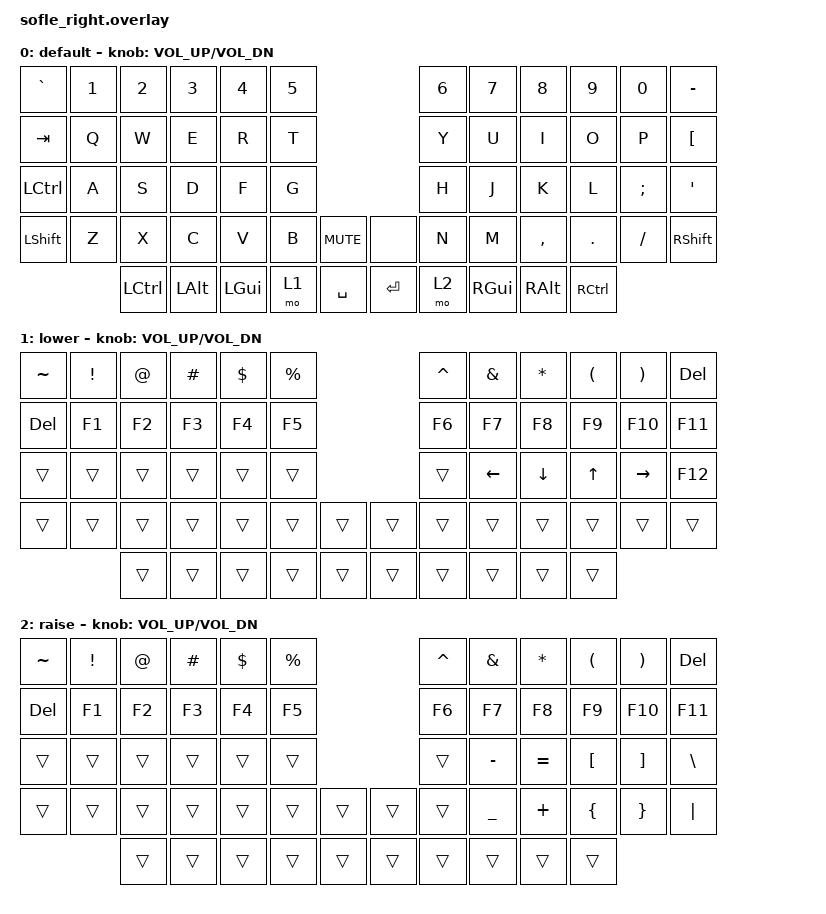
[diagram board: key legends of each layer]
/*
 * Copyright (c) 2020 Ryan Cross
 * SPDX-License-Identifier: MIT
 */

#include "sofle.dtsi"

&default_transform {
    col-offset = <6>;
};

&kscan0 {
    col-gpios
        = <&pro_micro 10 GPIO_ACTIVE_HIGH>
        , <&pro_micro 16 GPIO_ACTIVE_HIGH>
        , <&pro_micro 14 GPIO_ACTIVE_HIGH>
        , <&pro_micro 15 GPIO_ACTIVE_HIGH>
        , <&pro_micro 18 GPIO_ACTIVE_HIGH>
        , <&pro_micro 19 GPIO_ACTIVE_HIGH>
        ;
};

// Right side encoder - disabled since trackball is here
&right_encoder {
    status = "disabled";
};

// Add I2C configuration for trackball
// Using the dedicated I2C pads near R1/R2 on Sofle PCB
&pro_micro_i2c {
    status = "okay";
    
    trackball: trackball@a {
        compatible = "pimoroni,trackball";
        reg = <0x0a>;
        label = "TRACKBALL";
        
        // No interrupt pin needed for this configuration
        // The Sofle PCB I2C implementation doesn't use INT
        
        // Trackball configuration
        wheel-up-key = <PIM447_WHEEL_UP>;
        wheel-down-key = <PIM447_WHEEL_DOWN>;
        wheel-left-key = <PIM447_WHEEL_LEFT>;
        wheel-right-key = <PIM447_WHEEL_RIGHT>;
        
        // LED configuration (optional)
        led-red = <0x00>;
        led-green = <0x00>;
        led-blue = <0x00>;
        led-white = <0x00>;
    };
};

// Add trackball to default layer
/ {
    keymap {
        compatible = "zmk,keymap";

        default_layer {
            display-name = "default";
            bindings = <
&kp GRAVE  &kp N1 &kp N2    &kp N3    &kp N4    &kp N5                         &kp N6 &kp N7    &kp N8    &kp N9   &kp N0   &kp MINUS
&kp TAB    &kp Q  &kp W     &kp E     &kp R     &kp T                          &kp Y  &kp U     &kp I     &kp O    &kp P    &kp LBKT
&kp LCTRL  &kp A  &kp S     &kp D     &kp F     &kp G                          &kp H  &kp J     &kp K     &kp L    &kp SEMI &kp SQT
&kp LSHFT  &kp Z  &kp X     &kp C     &kp V     &kp B  &kp MUTE       &none    &kp N  &kp M     &kp COMMA &kp DOT  &kp FSLH &kp RSHFT
                  &kp LCTRL &kp LALT  &kp LGUI  &mo 1  &kp SPACE      &kp RET  &mo 2  &kp RGUI  &kp RALT  &kp RCTRL
            >;

            sensor-bindings = <&inc_dec_kp C_VOL_UP C_VOL_DN>;
        };

        lower_layer {
            display-name = "lower";
            bindings = <
&kp TILDE &kp EXCL &kp AT &kp HASH &kp DLLR &kp PRCNT                    &kp CARET &kp AMPS  &kp STAR  &kp LPAR &kp RPAR &kp DEL
&kp DEL   &kp F1   &kp F2 &kp F3   &kp F4   &kp F5                       &kp F6    &kp F7    &kp F8    &kp F9   &kp F10  &kp F11
&trans    &trans   &trans &trans   &trans   &trans                       &trans    &kp LEFT  &kp DOWN  &kp UP   &kp RIGHT &kp F12
&trans    &trans   &trans &trans   &trans   &trans   &trans   &trans     &trans    &trans    &trans    &trans   &trans   &trans
                   &trans &trans   &trans   &trans   &trans   &trans     &trans    &trans    &trans    &trans
            >;

            sensor-bindings = <&inc_dec_kp C_VOL_UP C_VOL_DN>;
        };

        raise_layer {
            display-name = "raise";
            bindings = <
&kp TILDE &kp EXCL &kp AT &kp HASH &kp DLLR &kp PRCNT                    &kp CARET &kp AMPS  &kp STAR  &kp LPAR &kp RPAR &kp DEL
&kp DEL   &kp F1   &kp F2 &kp F3   &kp F4   &kp F5                       &kp F6    &kp F7    &kp F8    &kp F9   &kp F10  &kp F11
&trans    &trans   &trans &trans   &trans   &trans                       &trans    &kp MINUS &kp EQUAL &kp LBKT &kp RBKT &kp BSLH
&trans    &trans   &trans &trans   &trans   &trans   &trans   &trans     &trans    &kp UNDER &kp PLUS  &kp LBRC &kp RBRC &kp PIPE
                   &trans &trans   &trans   &trans   &trans   &trans     &trans    &trans    &trans    &trans
            >;

            sensor-bindings = <&inc_dec_kp C_VOL_UP C_VOL_DN>;
        };
    };
};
